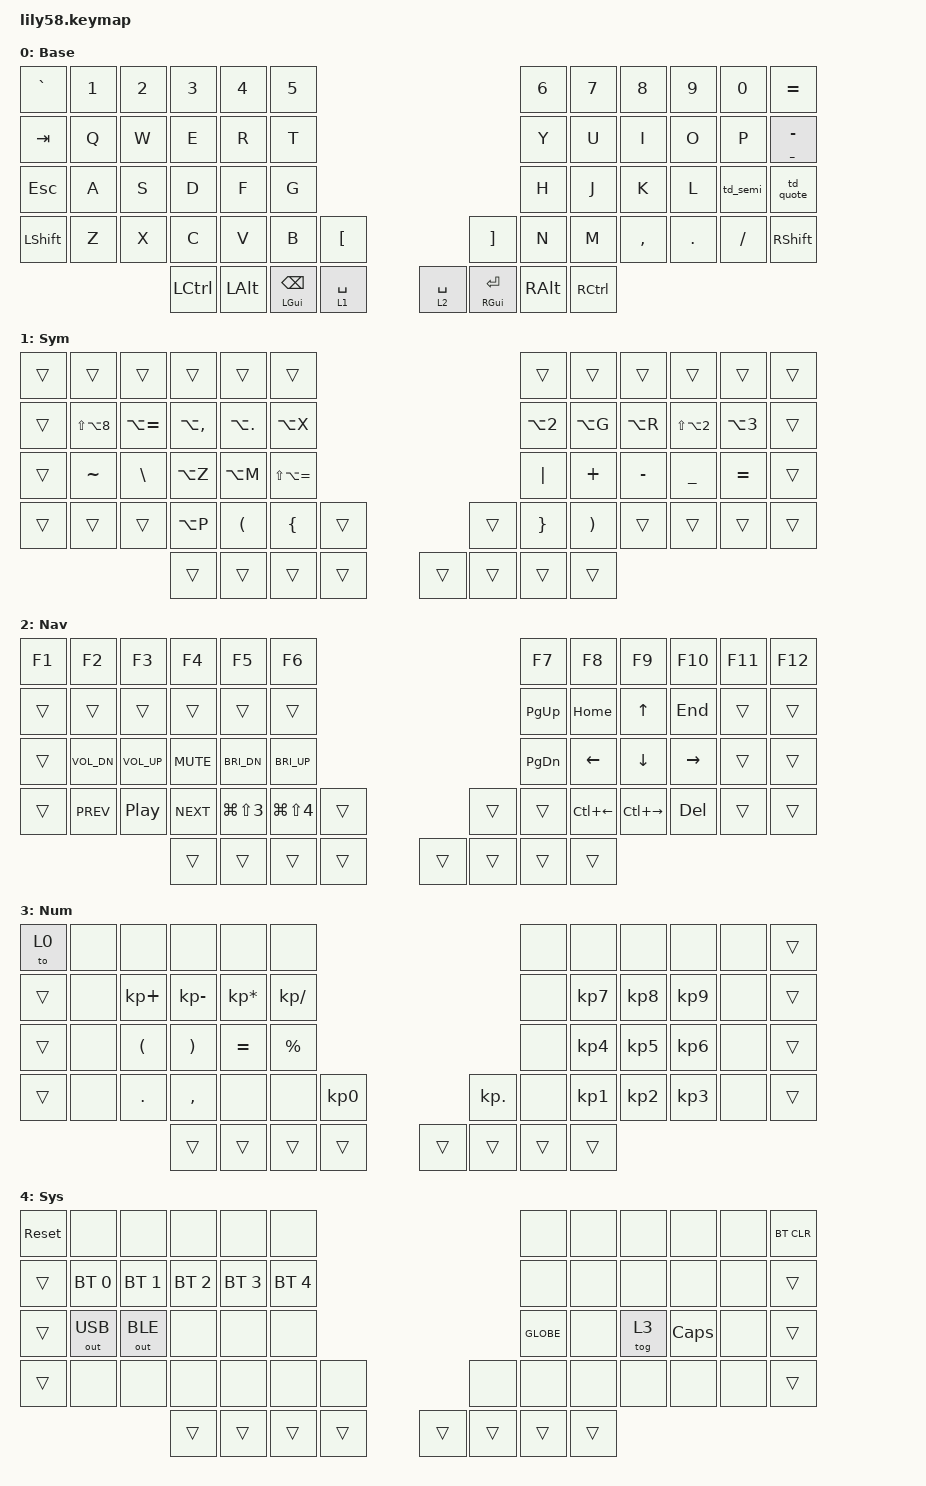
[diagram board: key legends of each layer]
#include <behaviors.dtsi>
#include <dt-bindings/zmk/keys.h>
#include <dt-bindings/zmk/bt.h>
#include <dt-bindings/zmk/outputs.h>

/ {
    // ============================================================
    // Custom hold-tap behaviors
    // ============================================================
    behaviors {
        // Cmd on hold, key on tap. For Backspace and Enter on the GUI thumbs.
        // Balanced: pressing and releasing another key while held resolves
        // as Cmd immediately, so fast Cmd chords don't turn into the tap key.
        ht_gui: hold_tap_gui {
            compatible = "zmk,behavior-hold-tap";
            #binding-cells = <2>;
            flavor = "balanced";
            tapping-term-ms = <200>;
            quick-tap-ms = <150>;
            bindings = <&kp>, <&kp>;
        };

        // Layer on hold, Space on tap. For thumb-Space layer keys.
        // Snappy timing — thumbs are decisive.
        lt_space: layer_tap_space {
            compatible = "zmk,behavior-hold-tap";
            #binding-cells = <2>;
            flavor = "balanced";
            tapping-term-ms = <150>;
            quick-tap-ms = <120>;
            bindings = <&mo>, <&kp>;
        };

        // Generic hold-tap: any key on hold, any key on tap.
        // Used for hyphen/underscore pair.
        hk_dash: hold_key_dash {
            compatible = "zmk,behavior-hold-tap";
            #binding-cells = <2>;
            flavor = "tap-preferred";
            tapping-term-ms = <200>;
            quick-tap-ms = <150>;
            bindings = <&kp>, <&kp>;
        };

        // Tap = ;  Double-tap = :
        td_semi: tap_dance_semi {
            compatible = "zmk,behavior-tap-dance";
            #binding-cells = <0>;
            tapping-term-ms = <200>;
            bindings = <&kp SEMI>, <&kp COLON>;
        };

        // Tap = '  Double-tap = "
        td_quote: tap_dance_quote {
            compatible = "zmk,behavior-tap-dance";
            #binding-cells = <0>;
            tapping-term-ms = <200>;
            bindings = <&kp SQT>, <&kp DQT>;
        };
    };

    // ============================================================
    // Conditional layer: hold both Sym (1) and Nav (2) → System (4)
    // ============================================================
    conditional_layers {
        compatible = "zmk,conditional-layers";
        sys_layer {
            if-layers = <1 2>;
            then-layer = <4>;
        };
    };

    keymap {
        compatible = "zmk,keymap";

        // ----------------------------------------------------------------
        // Layer 0: Base
        // ----------------------------------------------------------------
        // Row 0: ` 1 2 3 4 5 | 6 7 8 9 0 =     (= unshifted; + via Shift+=)
        // Row 1: Tab Q W E R T | Y U I O P -/_ (hyphen mod-tap to underscore)
        // Row 2: Esc A S D F G | H J K L ;: '"
        // Row 3: LShift Z X C V B [ | ] N M , . / RShift
        // Thumbs: LCTRL LALT Bspc/LGUI Sym/Space | Nav/Space Enter/RGUI RALT RCTRL
        base_layer {
            display-name = "Base";
            bindings = <
&kp GRAVE  &kp N1 &kp N2 &kp N3 &kp N4 &kp N5                                                                          &kp N6 &kp N7 &kp N8    &kp N9  &kp N0   &kp EQUAL
&kp TAB    &kp Q  &kp W  &kp E  &kp R  &kp T                                                                           &kp Y  &kp U  &kp I     &kp O   &kp P    &hk_dash UNDER MINUS
&kp ESC    &kp A  &kp S  &kp D  &kp F  &kp G                                                                           &kp H  &kp J  &kp K     &kp L   &td_semi &td_quote
&kp LSHFT  &kp Z  &kp X  &kp C  &kp V  &kp B    &kp LBKT                                  &kp RBKT                     &kp N  &kp M  &kp COMMA &kp DOT &kp FSLH &kp RSHFT
                         &kp LCTRL &kp LALT &ht_gui LGUI BSPC &lt_space 1 SPACE  &lt_space 2 SPACE &ht_gui RGUI RET &kp RALT &kp RCTRL
            >;
        };

        // ----------------------------------------------------------------
        // Layer 1: Symbols (hold left thumb)
        // ----------------------------------------------------------------
        // Mac symbols are Option combos on the US input source; other input
        // sources (e.g. Hebrew) map these combos to different characters.
        // Row 1 left: ° ≠ ≤ ≥ ≈     Row 1 right: ™ © ® € £
        // Row 2: ~ \ Ω µ ± on left; | + - _ = on right
        // Row 3: π on left; ( { surround [ ] cluster surround } ) — visually adjacent on bottom row
        symbols_layer {
            display-name = "Sym";
            bindings = <
&trans  &trans          &trans          &trans          &trans            &trans                                                  &trans      &trans    &trans     &trans          &trans     &trans
&trans  &kp LS(LA(N8))  &kp LA(EQUAL)   &kp LA(COMMA)   &kp LA(DOT)       &kp LA(X)                                               &kp LA(N2)  &kp LA(G) &kp LA(R)  &kp LS(LA(N2))  &kp LA(N3) &trans
&trans  &kp TILDE       &kp BSLH        &kp LA(Z)       &kp LA(M)         &kp LS(LA(EQUAL))                                       &kp PIPE    &kp PLUS  &kp MINUS  &kp UNDER       &kp EQUAL  &trans
&trans  &trans          &trans          &kp LA(P)       &kp LPAR          &kp LBRC          &trans                       &trans   &kp RBRC    &kp RPAR  &trans     &trans          &trans     &trans
                                         &trans   &trans       &trans &trans                       &trans &trans     &trans    &trans
            >;
        };

        // ----------------------------------------------------------------
        // Layer 2: Nav / Fn / Media (hold right thumb)
        // ----------------------------------------------------------------
        // Row 0: F1-F12
        // Row 1 right: PgUp Home ↑ End
        // Row 2 left: VolDn VolUp Mute BriDn BriUp   right: PgDn ← ↓ →
        // Row 3 left: Prev Play Next ScrFull ScrRegion   right: DesktopL DesktopR Del
        nav_layer {
            display-name = "Nav";
            bindings = <
&kp F1  &kp F2        &kp F3        &kp F4         &kp F5            &kp F6                                                            &kp F7    &kp F8       &kp F9        &kp F10   &kp F11 &kp F12
&trans  &trans        &trans        &trans         &trans            &trans                                                            &kp PG_UP &kp HOME     &kp UP        &kp END   &trans  &trans
&trans  &kp C_VOL_DN  &kp C_VOL_UP  &kp C_MUTE     &kp C_BRI_DN      &kp C_BRI_UP                                                      &kp PG_DN &kp LEFT     &kp DOWN      &kp RIGHT &trans  &trans
&trans  &kp C_PREV    &kp C_PP      &kp C_NEXT     &kp LG(LS(N3))    &kp LG(LS(N4))   &trans                          &trans          &trans    &kp LC(LEFT) &kp LC(RIGHT) &kp DEL   &trans  &trans
                                                   &trans            &trans           &trans &trans                       &trans      &trans    &trans       &trans
            >;
        };

        // ----------------------------------------------------------------
        // Layer 3: Numpad (toggle from System layer)
        // ----------------------------------------------------------------
        // 3x3 numpad on right hand: 7-8-9 / 4-5-6 / 1-2-3
        // 0 and . on inner extras of row 3 (calculator-friendly)
        // Operators on left: + - * / on row 1; ( ) = % on row 2
        // &to 0 on top-left (where backtick lives on base) to escape back to base
        // Thumbs and bottom row are &trans — consistent with base
        numpad_layer {
            display-name = "Num";
            bindings = <
&to 0   &none  &none         &none          &none             &none                                                  &none  &none      &none      &none      &none &trans
&trans  &none  &kp KP_PLUS   &kp KP_MINUS   &kp KP_MULTIPLY   &kp KP_DIVIDE                                          &none  &kp KP_N7  &kp KP_N8  &kp KP_N9  &none &trans
&trans  &none  &kp LPAR      &kp RPAR       &kp EQUAL         &kp PERCENT                                            &none  &kp KP_N4  &kp KP_N5  &kp KP_N6  &none &trans
&trans  &none  &kp DOT       &kp COMMA      &none             &none           &kp KP_N0          &kp KP_DOT          &none  &kp KP_N1  &kp KP_N2  &kp KP_N3  &none &trans
                                            &trans            &trans          &trans  &trans                  &trans        &trans     &trans     &trans
            >;
        };

        // ----------------------------------------------------------------
        // Layer 4: System (conditional — hold both Sym + Nav thumbs)
        // ----------------------------------------------------------------
        // Bootloader on top-left corner
        // BT clear on top-right corner
        // BT profiles on left QWERTY row
        // USB / BLE output toggle on left home row
        // Globe (macOS input source switch), Numpad toggle (&tog 3), Caps Lock on right home row
        system_layer {
            display-name = "Sys";
            bindings = <
&sys_reset  &none         &none         &none         &none         &none                                              &none      &none &none  &none    &none &bt BT_CLR
&trans      &bt BT_SEL 0  &bt BT_SEL 1  &bt BT_SEL 2  &bt BT_SEL 3  &bt BT_SEL 4                                       &none      &none &none  &none    &none &trans
&trans      &out OUT_USB  &out OUT_BLE  &none         &none         &none                                              &kp GLOBE  &none &tog 3 &kp CAPS &none &trans
&trans      &none         &none         &none         &none         &none         &none              &none             &none &none &none  &none    &none &trans
                                        &trans        &trans        &trans        &trans                       &trans  &trans &trans &trans
            >;
        };
    };
};
